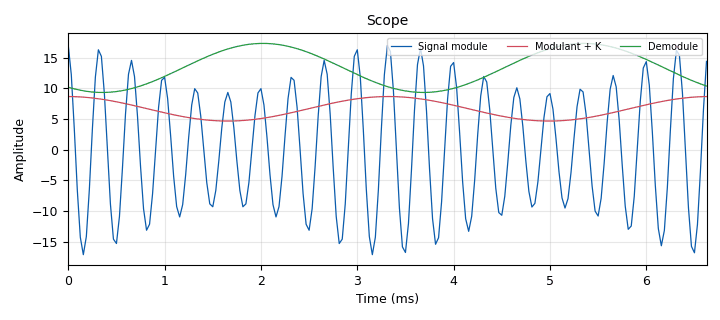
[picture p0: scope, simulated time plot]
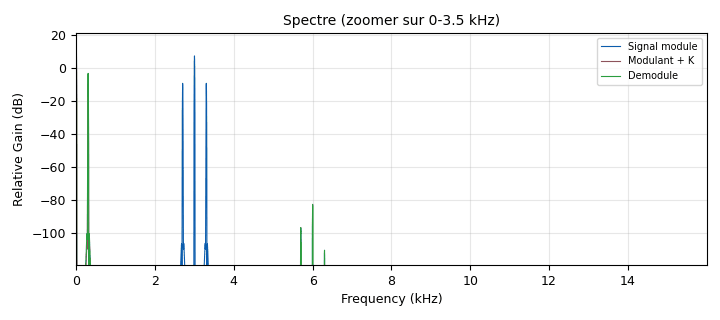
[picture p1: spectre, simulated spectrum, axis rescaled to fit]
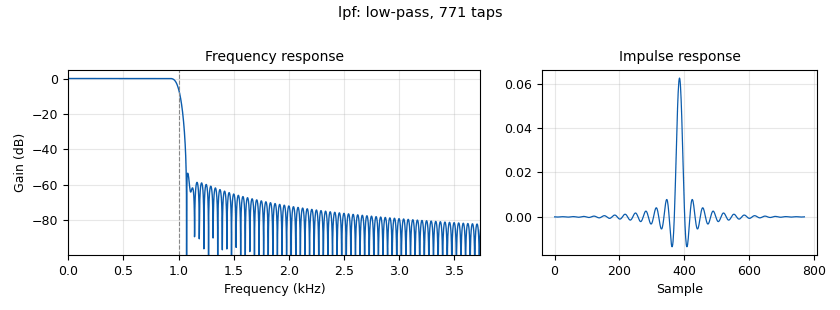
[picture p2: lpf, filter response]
options:
  parameters:
    author: Groupe 2 - SAE 5.01 NFC
    description: III - Demodulation synchrone
    generate_options: qt_gui
    id: MA_demod
    output_language: python
    title: MA_demod
  states: {}

blocks:
- name: AM
  id: variable
  parameters:
    value: '2'
  states: {}
- name: Ap
  id: variable
  parameters:
    value: '2'
  states: {}
- name: K
  id: variable
  parameters:
    comment: Tension continue ajoutee
    value: AM/m
  states: {}
- name: fM
  id: variable
  parameters:
    comment: Modulant (Hz)
    value: '300'
  states: {}
- name: fp
  id: variable
  parameters:
    comment: Porteuse (Hz)
    value: '3000'
  states: {}
- name: m
  id: variable
  parameters:
    comment: Indice de modulation
    value: '0.3'
  states: {}
- name: samp_rate
  id: variable
  parameters:
    value: '32000'
  states: {}
- name: addK
  id: blocks_add_const_vxx
  parameters:
    comment: Ajout de K
    const: K
    type: float
  states: {}
- name: lpf
  id: low_pass_filter
  parameters:
    comment: Garde le battement difference
    cutoff_freq: '1000'
    decim: '1'
    gain: '1'
    samp_rate: samp_rate
    type: fir_filter_fff
    width: '100'
    win: window.WIN_HAMMING
  states: {}
- name: modulant
  id: analog_sig_source_x
  parameters:
    amp: AM
    comment: Modulant
    freq: fM
    offset: '0'
    phase: '0'
    samp_rate: samp_rate
    type: float
    waveform: analog.GR_COS_WAVE
  states: {}
- name: mult
  id: blocks_multiply_xx
  parameters:
    comment: Modulateur
    type: float
  states: {}
- name: mult_demod
  id: blocks_multiply_xx
  parameters:
    comment: x porteuse
    type: float
  states: {}
- name: porteuse
  id: analog_sig_source_x
  parameters:
    amp: Ap
    comment: Porteuse
    freq: fp
    offset: '0'
    phase: '0'
    samp_rate: samp_rate
    type: float
    waveform: analog.GR_COS_WAVE
  states: {}
- name: scope
  id: qtgui_time_sink_x
  parameters:
    autoscale: 'True'
    grid: 'True'
    label1: '"Signal module"'
    label2: '"Modulant + K"'
    label3: '"Demodule"'
    name: '"Scope"'
    nconnections: '3'
    size: int(2*samp_rate/fM)
    srate: samp_rate
    tr_chan: '1'
    tr_mode: qtgui.TRIG_MODE_AUTO
    type: float
  states: {}
- name: spectre
  id: qtgui_freq_sink_x
  parameters:
    bw: samp_rate
    fc: '0'
    fftsize: '8192'
    freqhalf: 'False'
    grid: 'True'
    label1: '"Signal module"'
    label2: '"Modulant + K"'
    label3: '"Demodule"'
    name: '"Spectre (zoomer sur 0-3.5 kHz)"'
    nconnections: '3'
    type: float
  states: {}
- name: throttle
  id: blocks_throttle2
  parameters:
    samples_per_second: samp_rate
    type: float
  states: {}

connections:
- [addK, '0', mult, '1']
- [addK, '0', scope, '1']
- [addK, '0', spectre, '1']
- [lpf, '0', scope, '2']
- [lpf, '0', spectre, '2']
- [modulant, '0', addK, '0']
- [mult, '0', mult_demod, '0']
- [mult, '0', scope, '0']
- [mult, '0', spectre, '0']
- [mult_demod, '0', lpf, '0']
- [porteuse, '0', throttle, '0']
- [throttle, '0', mult, '0']
- [throttle, '0', mult_demod, '1']

metadata:
  file_format: 1
  grc_version: 3.10.12.0
